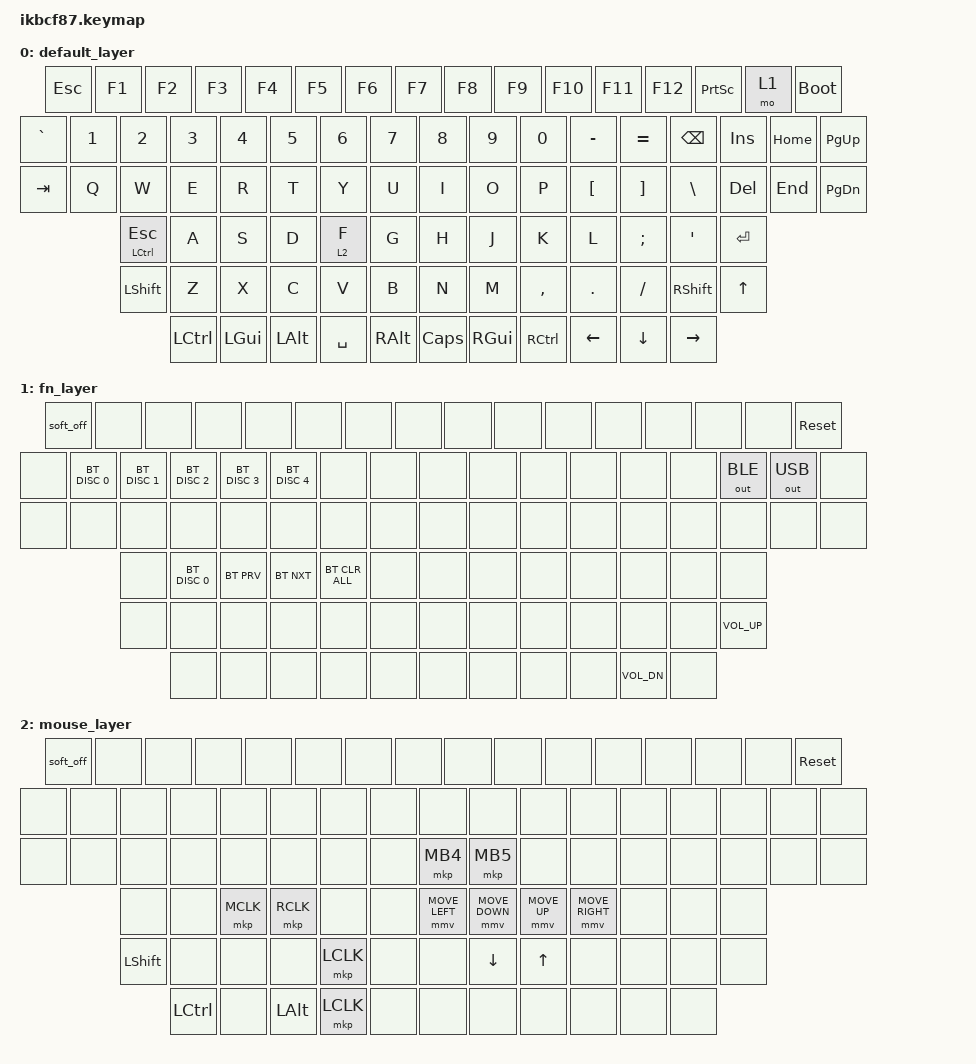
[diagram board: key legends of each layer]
#include <behaviors.dtsi>
#include <dt-bindings/zmk/keys.h>
#include <dt-bindings/zmk/bt.h>
#include <dt-bindings/zmk/bt.h>
#include <dt-bindings/zmk/outputs.h>
#include <dt-bindings/zmk/mouse.h>

/ {
    keymap {
        compatible = "zmk,keymap";


        default_layer {
            // --------------------------------------------------------------------------------------------------------------
            // | ESC |     | F1 |  F2 | F3 | F4 |     | F5 | F6 | F7 | F8 |     | F9 | F10 | F11| F12 |   | PS  | SL  | PB  | 
            // | ~ |  1  |  2  |  3  |  4  |  5  |  6  |  7  |  8  |  9  |  0  |  -  |  =  |   BKSP   |   | INS | HOM | PGU |
            // | TAB  |  Q  |  W  |  E  |  R  |  T  |  Y  |  U  |  I  |  O  |  P  |  [  |  ]  |   \   |   | DEL | END | PGD |
            // |  MO()  |  A  |  S  |  D  |  F  |  G  |  H  |  J  |  K  |  L  |  ;  |  '  |   ENTER   |                     |
            // |  SHIFT  |  Z  |  X  |  C  |  V  |  B  |  N  |  M  |  ,  |  .  |  /  |      SHIFT     |         | UP  |     |
            // |  CTL  |  WIN  |  ALT  |            SPACE               | ALT | FN |  WIN  | CTRL     |   | lef | DOW | RIG | 
            // --------------------------------------------------------------------------------------------------------------
            bindings = <
                &kp ESC      &kp F1 &kp F2 &kp F3 &kp F4    &kp F5 &kp F6 &kp F7 &kp F8       &kp  F9 &kp  F10  &kp F11 &kp F12       &kp PRINTSCREEN &mo 1         &bootloader
                &kp GRAVE &kp N1 &kp N2 &kp N3 &kp N4 &kp N5 &kp N6 &kp N7 &kp N8  &kp  N9 &kp  N0  &kp MINUS &kp EQUAL &kp BSPC      &kp INS         &kp HOME       &kp PAGE_UP
                &kp TAB  &kp Q  &kp W  &kp E  &kp R  &kp T  &kp Y  &kp U  &kp   I   &kp  O  &kp   P  &kp LBKT &kp RBKT  &kp BSLH      &kp DEL         &kp END        &kp PAGE_DOWN
          &mt LCTRL ESC  &kp A  &kp S  &kp D  &lt 2 F  &kp G  &kp H  &kp J  &kp   K   &kp  L  &kp SEMI &kp SQT           &kp RET
                &kp LSHFT  &kp Z  &kp X  &kp C  &kp V  &kp B  &kp N  &kp M  &kp COMMA &kp DOT &kp FSLH         &kp RSHFT                              &kp UP_ARROW
                &kp LCTRL &kp LGUI &kp LALT              &kp SPACE              &kp RALT &kp CAPSLOCK &kp RGUI  &kp  RCTRL          &kp LEFT_ARROW  &kp DOWN_ARROW  &kp RIGHT_ARROW
            >;
        };

        fn_layer {
            bindings = <
                &soft_off       &none  &none  &none  &none     &none  &none  &none  &none        &none   &none    &none  &none                  &none    &none   &sys_reset
                &none  &bt BT_DISC 0  &bt BT_DISC 1  &bt BT_DISC 2 &bt BT_DISC 3 &bt BT_DISC 4 &none  &none  &none   &none   &none    &none  &none  &none                       &out OUT_BLE    &out OUT_USB    &none 
                &none   &none   &none   &none   &none   &none   &none   &none   &none      &none    &none     &none  &none   &none         &none    &none   &none 
                &none    &bt BT_DISC 0 &bt BT_PRV   &bt BT_NXT   &bt BT_CLR_ALL   &none   &none   &none   &none      &none    &none  &none            &none 
                &none   &none   &none   &none   &none   &none   &none   &none   &none  &none  &none          &none                                    &kp C_VOL_UP
                &none  &none  &none                &none               &none  &none  &none   &none                                               &none   &kp C_VOL_DN   &none
            >;
        };

        mouse_layer {
            bindings = <
                &soft_off       &none  &none  &none  &none     &none  &none  &none  &none        &none   &none    &none  &none                  &none    &none   &sys_reset
                &none  &none    &none    &none  &none  &none   &none  &none  &none   &none   &none    &none  &none  &none                       &none     &none     &none 
                &none   &none   &none   &none   &none   &none   &none   &none   &mkp MB4      &mkp MB5    &none     &none  &none   &none         &none    &none   &none 
                &none    &none &mkp MCLK   &mkp RCLK    &none    &none   &mmv MOVE_LEFT   &mmv MOVE_DOWN   &mmv MOVE_UP      &mmv MOVE_RIGHT    &none  &none            &none 
                &kp LSHFT   &none   &none   &none   &mkp LCLK   &none   &none   &kp DOWN_ARROW   &kp UP_ARROW  &none  &none          &none                                    &none 
                &kp LCTRL  &none  &kp LALT                &mkp LCLK               &none  &none  &none   &none                                               &none   &none    &none
            >;
        };
    };
};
